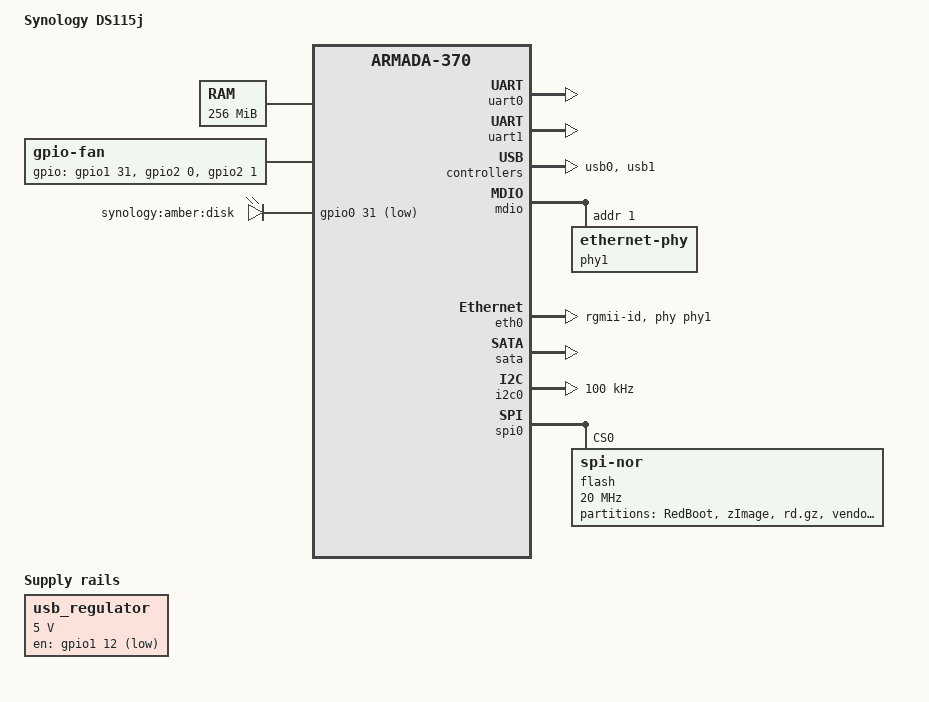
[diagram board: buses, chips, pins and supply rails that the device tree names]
/dts-v1/;

#include <dt-bindings/gpio/gpio.h>
#include "armada-370.dtsi"

/ {
    model = "Synology DS115j";
    compatible = "synology,ds115j", "marvell,armada370",
                 "marvell,armada-370-xp";

    chosen {
        stdout-path = "serial0:115200n8";
    };

    memory@0 {
        device_type = "memory";
        reg = <0x00000000 0x10000000>; /* 256 MB */
    };

    gpio-fan {
        compatible = "gpio-fan";
        pinctrl-names = "default";
        pinctrl-0 = <&fan_ctrl_low_pin &fan_ctrl_mid_pin
                     &fan_ctrl_high_pin>;
        gpios = <&gpio1 31 GPIO_ACTIVE_HIGH>,
                <&gpio2 0 GPIO_ACTIVE_HIGH>,
                <&gpio2 1 GPIO_ACTIVE_HIGH>;
        /*
         * This exact map initialized successfully and was reported to
         * control the fan on a DS115j in the Doozan test boot.
         */
        gpio-fan,speed-map = <   0 0>,
                             <1000 1>,
                             <1150 2>,
                             <1350 4>,
                             <1500 3>,
                             <1650 5>,
                             <1750 6>,
                             <1900 7>;
    };

    gpio-leds {
        compatible = "gpio-leds";
        pinctrl-names = "default";
        pinctrl-0 = <&disk_led_pin>;

        disk-led-amber {
            label = "synology:amber:disk";
            gpios = <&gpio0 31 GPIO_ACTIVE_LOW>;
            default-state = "keep";
        };
    };

    /*
     * USB VBUS is gated by a load switch driven from MPP44 (gpio1 pin 12).
     * The switch turns 5 V on when the line is LOW, so the gpio specifier
     * carries GPIO_ACTIVE_LOW (the kernel inverts the physical output) and
     * the regulator is always-on: with no node, USB ports get no power
     * (no LED, no enumeration) even though the EHCI host itself
     * initializes fine. Source: Doozan community DTS for DS115j, derived
     * from Synology GPL board sources ("DS115j GPIO Init").
     *
     * VERIFIED on hardware (kernel 6.12): regulator "USB Power" probes,
     * gpio-44 is driven low, both ports enumerate.
     *
     * NOTE: do NOT add a "marvell,function = \"gpio\"" pinctrl pin node
     * for mpp44 — armada-370-pinctrl rejects "gpio" as an unsupported
     * function on mpp44 and fails to register the pinctrl map, which makes
     * the regulator probe fail. mpp44 is in GPIO mode by default.
     *
     * NOTE: "enable-active-low" is NOT parsed by regulator-fixed in 6.12
     * (it was a legacy pre-gpiod property); polarity comes solely from the
     * GPIO_ACTIVE_LOW flag in the gpio cell.
     */
    regulators {
        compatible = "simple-bus";
        #address-cells = <1>;
        #size-cells = <0>;

        usb_regulator: usb-regulator@2 {
            compatible = "regulator-fixed";
            reg = <2>;
            regulator-name = "USB Power";
            regulator-min-microvolt = <5000000>;
            regulator-max-microvolt = <5000000>;
            regulator-always-on;
            regulator-boot-on;
            gpio = <&gpio1 12 GPIO_ACTIVE_LOW>;
        };
    };

    soc {
        ranges = <MBUS_ID(0xf0, 0x01) 0 0xf1000000 0x100000
                  MBUS_ID(0x01, 0xe0) 0 0xfff00000 0x100000
                  MBUS_ID(0x09, 0x01) 0 0xf1100000 0x10000>;

        internal-regs {
            /*
             * The PIC16LF1828 on UART1 controls power, the status LED,
             * and the beeper. Linux's synology,power-off binding sends
             * command "1" at 9600 baud when the system powers off.
             */
            poweroff@12100 {
                compatible = "synology,power-off";
                reg = <0x12100 0x100>;
                clocks = <&coreclk 0>;
            };
        };
    };
};

&uart0 {
    status = "okay";
};

&uart1 {
    status = "okay";
};

&usb0 {
    status = "okay";
};

&usb1 {
    status = "okay";
};

&mdio {
    pinctrl-names = "default";
    pinctrl-0 = <&mdio_pins>;

    phy1: ethernet-phy@1 {
        reg = <1>;
    };
};

&eth0 {
    pinctrl-names = "default";
    pinctrl-0 = <&ge0_rgmii_pins>;
    status = "okay";
    phy = <&phy1>;
    phy-mode = "rgmii-id";
};

&sata {
    status = "okay";
    nr-ports = <1>;
};

&i2c0 {
    pinctrl-names = "default";
    pinctrl-0 = <&i2c0_pins>;
    clock-frequency = <100000>;
    status = "okay";
};

&pinctrl {
    disk_led_pin: disk-led-pin {
        marvell,pins = "mpp31";
        marvell,function = "gpio";
    };

    fan_ctrl_low_pin: fan-ctrl-low-pin {
        marvell,pins = "mpp65";
        marvell,function = "gpio";
    };

    fan_ctrl_mid_pin: fan-ctrl-mid-pin {
        marvell,pins = "mpp64";
        marvell,function = "gpio";
    };

    fan_ctrl_high_pin: fan-ctrl-high-pin {
        marvell,pins = "mpp63";
        marvell,function = "gpio";
    };

    fan_alarm_pin: fan-alarm-pin {
        marvell,pins = "mpp38";
        marvell,function = "gpio";
    };
};

&spi0 {
    status = "okay";

    flash@0 {
        compatible = "jedec,spi-nor";
        reg = <0>;
        spi-max-frequency = <20000000>;

        /*
         * Stock U-Boot identifies an MX25L6405D (8 MiB). Keep every
         * partition read-only until a complete off-device dump exists.
         */
        partitions {
            compatible = "fixed-partitions";
            #address-cells = <1>;
            #size-cells = <1>;

            partition@0 {
                label = "RedBoot";
                reg = <0x00000000 0x000c0000>;
                read-only;
            };

            partition@c0000 {
                label = "zImage";
                reg = <0x000c0000 0x002d0000>;
                read-only;
            };

            partition@390000 {
                label = "rd.gz";
                reg = <0x00390000 0x00440000>;
                read-only;
            };

            partition@7d0000 {
                label = "vendor";
                reg = <0x007d0000 0x00010000>;
                read-only;
            };

            partition@7e0000 {
                label = "RedBoot Config";
                reg = <0x007e0000 0x00010000>;
                read-only;
            };

            partition@7f0000 {
                label = "FIS directory";
                reg = <0x007f0000 0x00010000>;
                read-only;
            };
        };
    };
};
